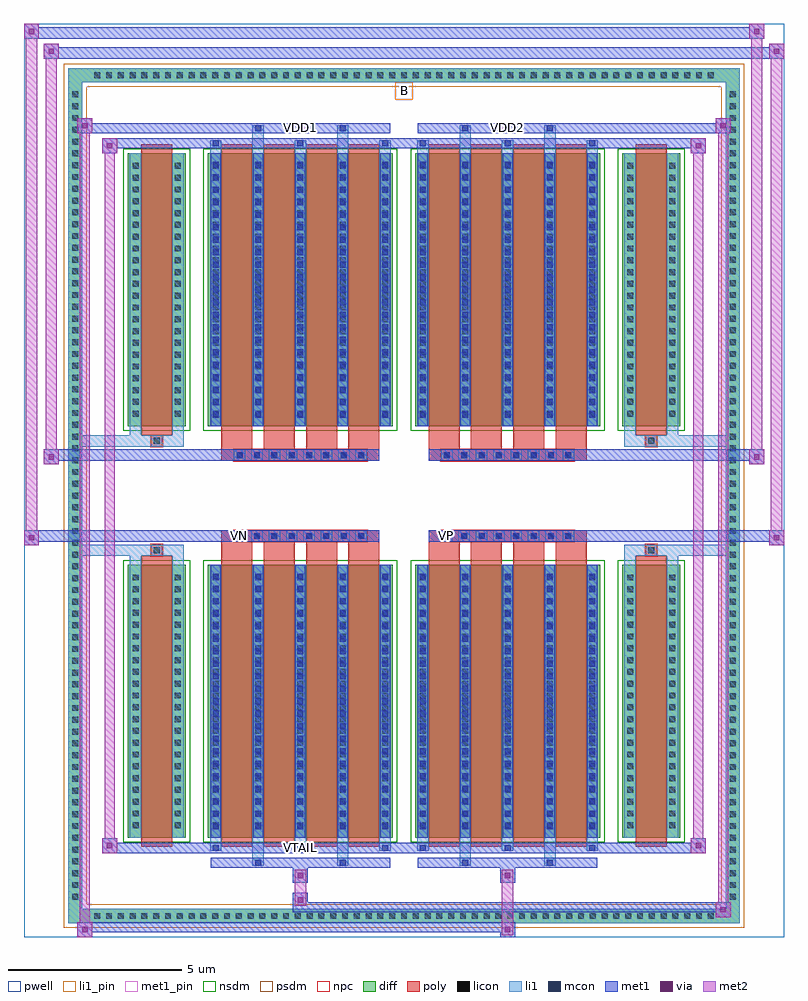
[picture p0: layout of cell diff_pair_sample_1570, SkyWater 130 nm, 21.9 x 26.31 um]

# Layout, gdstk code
import gdstk
lib = gdstk.Library(unit=1e-6, precision=5e-09)
def R(c, l, rs):  # rectangles x0, y0, x1, y1
    for r in rs: c.add(gdstk.rectangle(r[:2], r[2:], *l))
def A(c, l, x, y, w, h, nx, ny, dx, dy):  # array of equal rectangles
    R(c, l, [(x+i*dx, y+j*dy, x+i*dx+w, y+j*dy+h) for i in range(nx) for j in range(ny)])
def P(c, l, *ps):  # polygons
    for p in ps: c.add(gdstk.Polygon(p, *l))
pwell = (64, 44)
diff = (65, 20)
poly = (66, 20)
licon = (66, 44)
li1_pin = (67, 16)
li1 = (67, 20)
mcon = (67, 44)
met1_pin = (68, 16)
met1 = (68, 20)
via = (68, 44)
met2 = (69, 20)
nsdm = (93, 44)
psdm = (94, 20)
npc = (95, 20)

diff_pair_sample_1570 = lib.new_cell('diff_pair_sample_1570')
R(diff_pair_sample_1570, pwell, [(-10.95,-12.72,10.95,13.59), (-8.27,-10.91,-0.01,-0.8), (0.01,-10.91,8.27,-0.8), (-8.27,0.8,-0.01,10.91), (0.01,0.8,8.27,10.91)])
A(diff_pair_sample_1570, diff, -9.045, -12.32, 0.41, 0.41, 53, 2, 0.34, 24.23)
A(diff_pair_sample_1570, diff, -9.68, -11.765, 0.41, 0.41, 1, 69, 0, 0.34)
A(diff_pair_sample_1570, diff, 9.27, -11.765, 0.41, 0.41, 1, 69, 0, 0.34)
R(diff_pair_sample_1570, diff, [(-9.045,-12.32,9.045,-11.91), (-9.68,-11.765,-9.27,11.765), (9.27,-11.765,9.68,11.765), (-7.96,-9.865,-6.29,-1.995), (-5.65,-9.865,-0.32,-1.995), (0.32,-9.865,5.65,-1.995), (6.29,-9.865,7.96,-1.995), (-7.96,1.995,-6.29,9.865), (-5.65,1.995,-0.32,9.865), (0.32,1.995,5.65,9.865), (6.29,1.995,7.96,9.865), (-9.045,11.91,9.045,12.32)])
P(diff_pair_sample_1570, diff, [(9.68,12.32),(-9.68,12.32),(-9.68,-11.91),(-9.27,-11.91),(-9.27,11.91),(9.27,11.91),(9.27,-11.91),(-9.27,-11.91),(-9.68,-11.91),(-9.68,-12.32),(9.68,-12.32)])
A(diff_pair_sample_1570, poly, -5.26, -10.12, 0.89, 8.38, 4, 2, 1.22, 11.86)
A(diff_pair_sample_1570, poly, 0.71, -10.12, 0.89, 8.38, 4, 2, 1.22, 11.86)
A(diff_pair_sample_1570, poly, -5.26, -1.74, 0.89, 0.41, 4, 2, 1.22, 3.07)
A(diff_pair_sample_1570, poly, 0.71, -1.74, 0.89, 0.41, 4, 2, 1.22, 3.07)
A(diff_pair_sample_1570, poly, -4.9, -1.33, 0.33, 0.33, 8, 2, 0.5, 2.33)
A(diff_pair_sample_1570, poly, 1.07, -1.33, 0.33, 0.33, 8, 2, 0.5, 2.33)
R(diff_pair_sample_1570, poly, [(-7.57,-10.12,-6.68,-1.74), (6.68,-10.12,7.57,-1.74), (-7.29,-1.74,-6.96,-1.41), (-7.29,-1.74,-6.96,-1.41), (6.96,-1.74,7.29,-1.41), (6.96,-1.74,7.29,-1.41), (-5.26,-1.33,-0.71,-1), (0.71,-1.33,5.26,-1), (-5.26,1,-0.71,1.33), (0.71,1,5.26,1.33), (-7.29,1.41,-6.96,1.74), (-7.29,1.41,-6.96,1.74), (6.96,1.41,7.29,1.74), (6.96,1.41,7.29,1.74), (-7.57,1.74,-6.68,10.12), (6.68,1.74,7.57,10.12)])
A(diff_pair_sample_1570, licon, -8.925, -12.2, 0.17, 0.17, 53, 2, 0.34, 24.23)
A(diff_pair_sample_1570, licon, -9.56, -11.645, 0.17, 0.17, 1, 69, 0, 0.34)
A(diff_pair_sample_1570, licon, 9.39, -11.645, 0.17, 0.17, 1, 69, 0, 0.34)
A(diff_pair_sample_1570, licon, -7.82, -9.585, 0.17, 0.17, 1, 22, 0, 0.34)
A(diff_pair_sample_1570, licon, -6.6, -9.585, 0.17, 0.17, 1, 22, 0, 0.34)
A(diff_pair_sample_1570, licon, -5.51, -9.585, 0.17, 0.17, 5, 22, 1.22, 0.34)
A(diff_pair_sample_1570, licon, 0.46, -9.585, 0.17, 0.17, 5, 22, 1.22, 0.34)
A(diff_pair_sample_1570, licon, 6.43, -9.585, 0.17, 0.17, 1, 22, 0, 0.34)
A(diff_pair_sample_1570, licon, 7.65, -9.585, 0.17, 0.17, 1, 22, 0, 0.34)
A(diff_pair_sample_1570, licon, -4.82, -1.25, 0.17, 0.17, 8, 2, 0.5, 2.33)
A(diff_pair_sample_1570, licon, 1.15, -1.25, 0.17, 0.17, 8, 2, 0.5, 2.33)
A(diff_pair_sample_1570, licon, -7.82, 2.275, 0.17, 0.17, 1, 22, 0, 0.34)
A(diff_pair_sample_1570, licon, -6.6, 2.275, 0.17, 0.17, 1, 22, 0, 0.34)
A(diff_pair_sample_1570, licon, -5.51, 2.275, 0.17, 0.17, 5, 22, 1.22, 0.34)
A(diff_pair_sample_1570, licon, 0.46, 2.275, 0.17, 0.17, 5, 22, 1.22, 0.34)
A(diff_pair_sample_1570, licon, 6.43, 2.275, 0.17, 0.17, 1, 22, 0, 0.34)
A(diff_pair_sample_1570, licon, 7.65, 2.275, 0.17, 0.17, 1, 22, 0, 0.34)
R(diff_pair_sample_1570, licon, [(-7.21,-1.66,-7.04,-1.49), (7.04,-1.66,7.21,-1.49), (-7.21,1.49,-7.04,1.66), (7.04,1.49,7.21,1.66)])
R(diff_pair_sample_1570, li1_pin, [(-0.25,11.41,0.25,11.91)])
A(diff_pair_sample_1570, li1, -9.005, -12.28, 0.33, 0.33, 53, 2, 0.34, 24.23)
A(diff_pair_sample_1570, li1, -9.64, -11.725, 0.33, 0.33, 1, 69, 0, 0.34)
A(diff_pair_sample_1570, li1, 9.31, -11.725, 0.33, 0.33, 1, 69, 0, 0.34)
A(diff_pair_sample_1570, li1, -5.59, -10.24, 0.33, 0.375, 3, 2, 2.44, 20.105)
A(diff_pair_sample_1570, li1, -5.51, -10.24, 0.17, 0.17, 3, 2, 2.44, 20.31)
A(diff_pair_sample_1570, li1, 0.38, -10.24, 0.33, 0.375, 3, 2, 2.44, 20.105)
A(diff_pair_sample_1570, li1, 0.46, -10.24, 0.17, 0.17, 3, 2, 2.44, 20.31)
A(diff_pair_sample_1570, li1, -5.59, -9.865, 0.33, 7.87, 5, 2, 1.22, 11.86)
A(diff_pair_sample_1570, li1, 0.38, -9.865, 0.33, 7.87, 5, 2, 1.22, 11.86)
A(diff_pair_sample_1570, li1, -7.9, -9.665, 0.33, 0.33, 1, 22, 0, 0.34)
A(diff_pair_sample_1570, li1, -6.68, -9.665, 0.33, 0.33, 1, 22, 0, 0.34)
A(diff_pair_sample_1570, li1, -5.59, -9.665, 0.33, 0.33, 5, 22, 1.22, 0.34)
A(diff_pair_sample_1570, li1, 0.38, -9.665, 0.33, 0.33, 5, 22, 1.22, 0.34)
A(diff_pair_sample_1570, li1, 6.35, -9.665, 0.33, 0.33, 1, 22, 0, 0.34)
A(diff_pair_sample_1570, li1, 7.57, -9.665, 0.33, 0.33, 1, 22, 0, 0.34)
A(diff_pair_sample_1570, li1, -5.51, -9.615, 0.17, 0.17, 5, 21, 1.22, 0.36)
A(diff_pair_sample_1570, li1, -5.51, -9.615, 0.17, 7.37, 5, 2, 1.22, 11.86)
A(diff_pair_sample_1570, li1, 0.46, -9.615, 0.17, 0.17, 5, 21, 1.22, 0.36)
A(diff_pair_sample_1570, li1, 0.46, -9.615, 0.17, 7.37, 5, 2, 1.22, 11.86)
A(diff_pair_sample_1570, li1, -4.9, -1.33, 0.33, 0.33, 8, 2, 0.5, 2.33)
A(diff_pair_sample_1570, li1, 1.07, -1.33, 0.33, 0.33, 8, 2, 0.5, 2.33)
A(diff_pair_sample_1570, li1, -7.9, 2.195, 0.33, 0.33, 1, 22, 0, 0.34)
A(diff_pair_sample_1570, li1, -6.68, 2.195, 0.33, 0.33, 1, 22, 0, 0.34)
A(diff_pair_sample_1570, li1, -5.59, 2.195, 0.33, 0.33, 5, 22, 1.22, 0.34)
A(diff_pair_sample_1570, li1, 0.38, 2.195, 0.33, 0.33, 5, 22, 1.22, 0.34)
A(diff_pair_sample_1570, li1, 6.35, 2.195, 0.33, 0.33, 1, 22, 0, 0.34)
A(diff_pair_sample_1570, li1, 7.57, 2.195, 0.33, 0.33, 1, 22, 0, 0.34)
A(diff_pair_sample_1570, li1, -5.51, 2.245, 0.17, 0.17, 5, 21, 1.22, 0.36)
A(diff_pair_sample_1570, li1, 0.46, 2.245, 0.17, 0.17, 5, 21, 1.22, 0.36)
R(diff_pair_sample_1570, li1, [(-9.68,-12.32,-9.27,-11.91), (-9.68,-12.32,-9.27,-11.91), (-9.27,-12.32,9.27,-11.91), (9.27,-12.32,9.68,-11.91), (9.27,-12.32,9.68,-11.91), (-9.68,-11.91,-9.27,11.91), (9.27,-11.91,9.68,11.91), (-4.37,-10.67,-4.04,-9.865), (-4.29,-10.67,-4.12,-10.5), (-1.93,-10.67,-1.6,-9.865), (-1.85,-10.67,-1.68,-10.5), (1.6,-10.67,1.93,-9.865), (1.68,-10.67,1.85,-10.5), (4.04,-10.67,4.37,-9.865), (4.12,-10.67,4.29,-10.5), (-7.9,-9.865,-7.57,-1.995), (-6.68,-9.865,-6.35,-1.995), (6.35,-9.865,6.68,-1.995), (7.57,-9.865,7.9,-1.995), (-7.9,-1.995,-7.57,-1.41), (-6.68,-1.995,-6.35,-1.41), (6.35,-1.995,6.68,-1.41), (7.57,-1.995,7.9,-1.41), (-9.68,-1.74,-7.29,-1.41), (-7.9,-1.74,-7.29,-1.41), (-7.29,-1.74,-6.96,-1.41), (-6.96,-1.74,-6.35,-1.41), (6.35,-1.74,6.96,-1.41), (6.96,-1.74,7.29,-1.41), (6.96,-1.74,9.68,-1.41), (7.29,-1.74,7.9,-1.41), (-9.68,1.41,-7.29,1.74), (-7.9,1.41,-7.29,1.74), (-7.9,1.41,-7.57,1.995), (-7.29,1.41,-6.96,1.74), (-6.96,1.41,-6.35,1.74), (-6.68,1.41,-6.35,1.995), (6.35,1.41,6.96,1.74), (6.35,1.41,6.68,1.995), (6.96,1.41,7.29,1.74), (6.96,1.41,9.68,1.74), (7.29,1.41,7.9,1.74), (7.57,1.41,7.9,1.995), (-7.9,1.995,-7.57,9.865), (-6.68,1.995,-6.35,9.865), (6.35,1.995,6.68,9.865), (7.57,1.995,7.9,9.865), (-4.37,9.865,-4.04,10.67), (-1.93,9.865,-1.6,10.67), (1.6,9.865,1.93,10.67), (4.04,9.865,4.37,10.67), (-4.29,10.5,-4.12,10.67), (-1.85,10.5,-1.68,10.67), (1.68,10.5,1.85,10.67), (4.12,10.5,4.29,10.67), (-9.68,11.91,-9.27,12.32), (-9.68,11.91,-9.27,12.32), (-9.27,11.91,9.27,12.32), (9.27,11.91,9.68,12.32), (9.27,11.91,9.68,12.32)])
A(diff_pair_sample_1570, mcon, -5.51, -10.24, 0.17, 0.17, 3, 2, 2.44, 20.31)
A(diff_pair_sample_1570, mcon, 0.46, -10.24, 0.17, 0.17, 3, 2, 2.44, 20.31)
A(diff_pair_sample_1570, mcon, -5.51, -9.615, 0.17, 0.17, 5, 21, 1.22, 0.36)
A(diff_pair_sample_1570, mcon, 0.46, -9.615, 0.17, 0.17, 5, 21, 1.22, 0.36)
A(diff_pair_sample_1570, mcon, -4.82, -1.25, 0.17, 0.17, 8, 2, 0.5, 2.33)
A(diff_pair_sample_1570, mcon, 1.15, -1.25, 0.17, 0.17, 8, 2, 0.5, 2.33)
A(diff_pair_sample_1570, mcon, -5.51, 2.245, 0.17, 0.17, 5, 21, 1.22, 0.36)
A(diff_pair_sample_1570, mcon, 0.46, 2.245, 0.17, 0.17, 5, 21, 1.22, 0.36)
R(diff_pair_sample_1570, mcon, [(-4.29,-10.67,-4.12,-10.5), (-1.85,-10.67,-1.68,-10.5), (1.68,-10.67,1.85,-10.5), (4.12,-10.67,4.29,-10.5), (-4.29,10.5,-4.12,10.67), (-1.85,10.5,-1.68,10.67), (1.68,10.5,1.85,10.67), (4.12,10.5,4.29,10.67)])
R(diff_pair_sample_1570, met1_pin, [(-3.12,-10.28,-2.85,-10.01), (-4.87,-1.29,-4.6,-1.02), (1.1,-1.29,1.37,-1.02), (-3.12,10.46,-2.85,10.73), (2.85,10.46,3.12,10.73)])
A(diff_pair_sample_1570, met1, -5.57, -10.3, 0.29, 0.29, 3, 2, 2.44, 20.31)
A(diff_pair_sample_1570, met1, 0.4, -10.3, 0.29, 0.29, 3, 2, 2.44, 20.31)
A(diff_pair_sample_1570, met1, -5.57, -9.865, 0.29, 7.87, 5, 2, 1.22, 11.86)
A(diff_pair_sample_1570, met1, 0.4, -9.865, 0.29, 7.87, 5, 2, 1.22, 11.86)
A(diff_pair_sample_1570, met1, -5.57, -9.675, 0.29, 0.29, 5, 21, 1.22, 0.36)
A(diff_pair_sample_1570, met1, 0.4, -9.675, 0.29, 0.29, 5, 21, 1.22, 0.36)
A(diff_pair_sample_1570, met1, -4.88, -1.31, 0.29, 0.29, 8, 2, 0.5, 2.33)
A(diff_pair_sample_1570, met1, 1.09, -1.31, 0.29, 0.29, 8, 2, 0.5, 2.33)
A(diff_pair_sample_1570, met1, -5.57, 2.185, 0.29, 0.29, 5, 21, 1.22, 0.36)
A(diff_pair_sample_1570, met1, 0.4, 2.185, 0.29, 0.29, 5, 21, 1.22, 0.36)
R(diff_pair_sample_1570, met1, [(-9.41,-12.72,-8.98,-12.29), (2.77,-12.72,3.2,-12.29), (-9.41,-12.58,3.2,-12.29), (8.98,-12.15,9.41,-11.72), (-3.2,-12.01,9.41,-11.72), (-3.2,-11.87,-2.77,-11.44), (-3.2,-11.16,-2.77,-10.73), (2.77,-11.16,3.2,-10.73), (-5.57,-10.73,-0.4,-10.44), (-4.35,-10.73,-4.06,-10.44), (-1.91,-10.73,-1.62,-10.44), (0.4,-10.73,5.57,-10.44), (1.62,-10.73,1.91,-10.44), (4.06,-10.73,4.35,-10.44), (-8.7,-10.3,-8.27,-9.87), (-8.7,-10.3,-5.57,-10.01), (-5.57,-10.3,-0.4,-10.01), (-0.4,-10.3,0.4,-10.01), (0.4,-10.3,5.57,-10.01), (5.57,-10.3,8.7,-10.01), (8.27,-10.3,8.7,-9.87), (-10.95,-1.43,-10.52,-1), (10.52,-1.43,10.95,-1), (-10.95,-1.33,-0.71,-1), (-5.26,-1.33,-0.71,-1), (0.71,-1.33,5.26,-1), (0.71,-1.33,10.95,-1), (-10.38,0.9,-9.95,1.33), (9.95,0.9,10.38,1.33), (-10.38,1,-5.26,1.33), (-5.26,1,-0.71,1.33), (0.71,1,5.26,1.33), (5.26,1,10.38,1.33), (-8.7,9.87,-8.27,10.3), (8.27,9.87,8.7,10.3), (-8.7,10.01,-5.57,10.3), (-5.57,10.01,-0.4,10.3), (-0.4,10.01,0.4,10.3), (0.4,10.01,5.57,10.3), (5.57,10.01,8.7,10.3), (-9.41,10.44,-8.98,10.87), (-9.41,10.44,-5.57,10.73), (-5.57,10.44,-0.4,10.73), (-4.35,10.44,-4.06,10.73), (-1.91,10.44,-1.62,10.73), (0.4,10.44,5.57,10.73), (1.62,10.44,1.91,10.73), (4.06,10.44,4.35,10.73), (5.57,10.44,9.41,10.73), (8.98,10.44,9.41,10.87), (-10.38,12.59,-9.95,13.02), (-10.38,12.59,-8.27,12.92), (-8.27,12.59,8.27,12.92), (8.27,12.59,10.95,12.92), (10.52,12.59,10.95,13.02), (-10.95,13.16,-10.52,13.59), (-10.95,13.16,-8.27,13.49), (-8.27,13.16,8.27,13.49), (8.27,13.16,10.38,13.49), (9.95,13.16,10.38,13.59)])
R(diff_pair_sample_1570, via, [(-9.27,-12.58,-9.12,-12.43), (2.91,-12.58,3.06,-12.43), (9.12,-12.01,9.27,-11.86), (-3.06,-11.73,-2.91,-11.58), (-3.06,-11.02,-2.91,-10.87), (2.91,-11.02,3.06,-10.87), (-8.56,-10.16,-8.41,-10.01), (8.41,-10.16,8.56,-10.01), (-10.81,-1.29,-10.66,-1.14), (10.66,-1.29,10.81,-1.14), (-10.24,1.04,-10.09,1.19), (10.09,1.04,10.24,1.19), (-8.56,10.01,-8.41,10.16), (8.41,10.01,8.56,10.16), (-9.27,10.58,-9.12,10.73), (9.12,10.58,9.27,10.73), (-10.24,12.73,-10.09,12.88), (10.66,12.73,10.81,12.88), (-10.81,13.3,-10.66,13.45), (10.09,13.3,10.24,13.45)])
R(diff_pair_sample_1570, met2, [(-9.41,-12.72,-8.98,-12.29), (-9.34,-12.72,-9.05,10.87), (-9.05,-12.72,-8.98,-12.29), (-9.36,-12.67,-9.03,-12.34), (2.82,-12.67,3.15,-12.34), (2.82,-12.34,3.15,-11.11), (8.98,-12.15,9.41,-11.72), (9.05,-12.15,9.34,10.87), (9.34,-12.15,9.41,-11.72), (9.03,-12.1,9.36,-11.77), (-3.15,-11.82,-2.82,-11.49), (-3.15,-11.49,-2.82,-11.11), (-3.15,-11.11,-2.82,-10.78), (2.82,-11.11,3.15,-10.78), (-8.7,-10.3,-8.27,-9.87), (-8.63,-10.3,-8.34,10.3), (-8.34,-10.3,-8.27,-9.87), (8.27,-10.3,8.7,-9.87), (8.34,-10.3,8.63,10.3), (8.63,-10.3,8.7,-9.87), (-8.65,-10.25,-8.32,-9.92), (8.32,-10.25,8.65,-9.92), (-10.95,-1.43,-10.52,-1), (-10.9,-1.43,-10.57,13.59), (-10.57,-1.43,-10.52,-1), (10.52,-1.43,10.95,-1), (10.57,-1.43,10.9,13.02), (10.9,-1.43,10.95,-1), (-10.9,-1.38,-10.57,-1.05), (10.57,-1.38,10.9,-1.05), (-10.38,0.9,-9.95,1.33), (-10.33,0.9,-10,13.02), (-10,0.9,-9.95,1.33), (9.95,0.9,10.38,1.33), (10,0.9,10.33,13.59), (10.33,0.9,10.38,1.33), (-10.33,0.95,-10,1.28), (10,0.95,10.33,1.28), (-8.7,9.87,-8.27,10.3), (-8.34,9.87,-8.27,10.3), (8.27,9.87,8.7,10.3), (8.63,9.87,8.7,10.3), (-8.65,9.92,-8.32,10.25), (8.32,9.92,8.65,10.25), (-9.41,10.44,-8.98,10.87), (-9.05,10.44,-8.98,10.87), (8.98,10.44,9.41,10.87), (9.34,10.44,9.41,10.87), (-9.36,10.49,-9.03,10.82), (9.03,10.49,9.36,10.82), (-10.38,12.59,-9.95,13.02), (-10,12.59,-9.95,13.02), (10.52,12.59,10.95,13.02), (10.9,12.59,10.95,13.02), (-10.33,12.64,-10,12.97), (10.57,12.64,10.9,12.97), (-10.95,13.16,-10.52,13.59), (-10.57,13.16,-10.52,13.59), (9.95,13.16,10.38,13.59), (10.33,13.16,10.38,13.59), (-10.9,13.21,-10.57,13.54), (10,13.21,10.33,13.54)])
R(diff_pair_sample_1570, nsdm, [(-8.09,-9.995,-6.16,-1.865), (-5.78,-9.995,-0.19,-1.865), (0.19,-9.995,5.78,-1.865), (6.16,-9.995,8.09,-1.865), (-8.09,1.865,-6.16,9.995), (-5.78,1.865,-0.19,9.995), (0.19,1.865,5.78,9.995), (6.16,1.865,8.09,9.995)])
P(diff_pair_sample_1570, psdm, [(9.81,12.45),(-9.81,12.45),(-9.81,-11.78),(-9.14,-11.78),(-9.14,11.78),(9.14,11.78),(9.14,-11.78),(-9.14,-11.78),(-9.81,-11.78),(-9.81,-12.45),(9.81,-12.45)])
A(diff_pair_sample_1570, npc, -4.92, -1.35, 0.37, 0.37, 8, 2, 0.5, 2.33)
A(diff_pair_sample_1570, npc, 1.05, -1.35, 0.37, 0.37, 8, 2, 0.5, 2.33)
R(diff_pair_sample_1570, npc, [(-7.31,-1.76,-6.94,-1.39), (6.94,-1.76,7.31,-1.39), (-4.92,-1.35,-4.05,-0.98), (-4.92,-1.35,-4.05,-0.98), (-4.42,-1.35,-3.55,-0.98), (-4.42,-1.35,-3.55,-0.98), (-3.92,-1.35,-3.05,-0.98), (-3.92,-1.35,-3.05,-0.98), (-3.42,-1.35,-2.55,-0.98), (-3.42,-1.35,-2.55,-0.98), (-2.92,-1.35,-2.05,-0.98), (-2.92,-1.35,-2.05,-0.98), (-2.42,-1.35,-1.55,-0.98), (-2.42,-1.35,-1.55,-0.98), (-1.92,-1.35,-1.05,-0.98), (-1.92,-1.35,-1.05,-0.98), (1.05,-1.35,1.92,-0.98), (1.05,-1.35,1.92,-0.98), (1.55,-1.35,2.42,-0.98), (1.55,-1.35,2.42,-0.98), (2.05,-1.35,2.92,-0.98), (2.05,-1.35,2.92,-0.98), (2.55,-1.35,3.42,-0.98), (2.55,-1.35,3.42,-0.98), (3.05,-1.35,3.92,-0.98), (3.05,-1.35,3.92,-0.98), (3.55,-1.35,4.42,-0.98), (3.55,-1.35,4.42,-0.98), (4.05,-1.35,4.92,-0.98), (4.05,-1.35,4.92,-0.98), (-4.92,0.98,-4.05,1.35), (-4.92,0.98,-4.05,1.35), (-4.42,0.98,-3.55,1.35), (-4.42,0.98,-3.55,1.35), (-3.92,0.98,-3.05,1.35), (-3.92,0.98,-3.05,1.35), (-3.42,0.98,-2.55,1.35), (-3.42,0.98,-2.55,1.35), (-2.92,0.98,-2.05,1.35), (-2.92,0.98,-2.05,1.35), (-2.42,0.98,-1.55,1.35), (-2.42,0.98,-1.55,1.35), (-1.92,0.98,-1.05,1.35), (-1.92,0.98,-1.05,1.35), (1.05,0.98,1.92,1.35), (1.05,0.98,1.92,1.35), (1.55,0.98,2.42,1.35), (1.55,0.98,2.42,1.35), (2.05,0.98,2.92,1.35), (2.05,0.98,2.92,1.35), (2.55,0.98,3.42,1.35), (2.55,0.98,3.42,1.35), (3.05,0.98,3.92,1.35), (3.05,0.98,3.92,1.35), (3.55,0.98,4.42,1.35), (3.55,0.98,4.42,1.35), (4.05,0.98,4.92,1.35), (4.05,0.98,4.92,1.35), (-7.31,1.39,-6.94,1.76), (6.94,1.39,7.31,1.76)])
diff_pair_sample_1570.add(gdstk.Label('VTAIL', (-2.985,-10.145), layer=68, texttype=5))
diff_pair_sample_1570.add(gdstk.Label('VN', (-4.735,-1.155), layer=68, texttype=5))
diff_pair_sample_1570.add(gdstk.Label('VP', (1.235,-1.155), layer=68, texttype=5))
diff_pair_sample_1570.add(gdstk.Label('B', (0,11.66), layer=67, texttype=5))
diff_pair_sample_1570.add(gdstk.Label('VDD2', (2.985,10.595), layer=68, texttype=5))
diff_pair_sample_1570.add(gdstk.Label('VDD1', (-2.985,10.595), layer=68, texttype=5))

lib.write_gds('diff_pair_sample_1570.gds')
